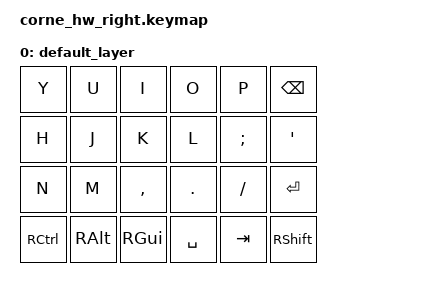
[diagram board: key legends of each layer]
#include <behaviors.dtsi>
#include <dt-bindings/zmk/keys.h>

/ {
    keymap {
        compatible = "zmk,keymap";

        default_layer {
            bindings = <
                &kp Y     &kp U     &kp I     &kp O      &kp P      &kp BSPC
                &kp H     &kp J     &kp K     &kp L      &kp SEMI   &kp SQT
                &kp N     &kp M     &kp COMMA &kp DOT    &kp SLASH  &kp ENTER
                &kp RCTRL &kp RALT  &kp RGUI  &kp SPACE  &kp TAB    &kp RSHFT
            >;
        };
    };
};
